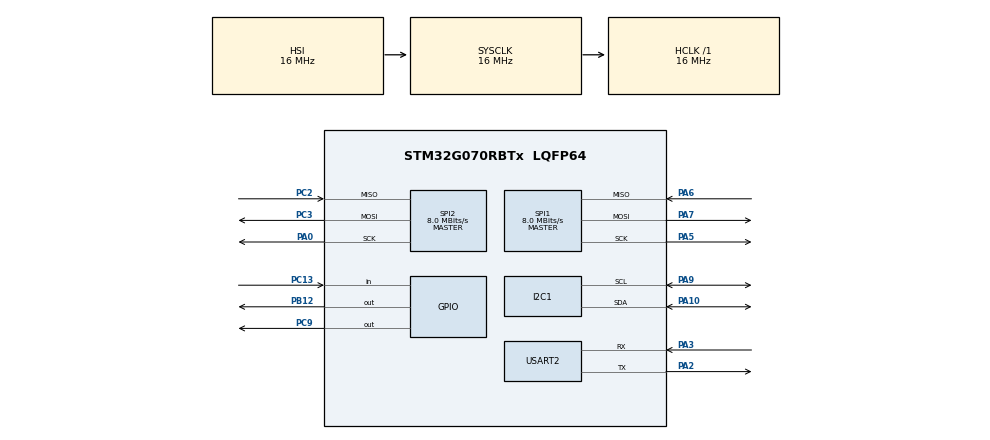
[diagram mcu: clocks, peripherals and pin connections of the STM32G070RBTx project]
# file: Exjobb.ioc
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Mcu.Family=STM32G0
Mcu.Name=STM32G070RBTx
Mcu.Package=LQFP64
PA0.Mode=Full_Duplex_Master
PA0.Signal=SPI2_SCK
PA10.Mode=I2C
PA10.Signal=I2C1_SDA
PA2.Mode=Asynchronous
PA2.Signal=USART2_TX
PA3.Mode=Asynchronous
PA3.Signal=USART2_RX
PA5.Mode=Full_Duplex_Master
PA5.Signal=SPI1_SCK
PA6.Mode=Full_Duplex_Master
PA6.Signal=SPI1_MISO
PA7.Mode=Full_Duplex_Master
PA7.Signal=SPI1_MOSI
PA9.Mode=I2C
PA9.Signal=I2C1_SCL
PB12.Signal=GPIO_Output
PC13.Signal=GPIO_Input
PC2.Mode=Full_Duplex_Master
PC2.Signal=SPI2_MISO
PC3.Mode=Full_Duplex_Master
PC3.Signal=SPI2_MOSI
PC9.Signal=GPIO_Output
ProjectManager.HeapSize=0x200
ProjectManager.StackSize=0x400
ProjectManager.TargetToolchain=STM32CubeIDE
RCC.AHBFreq_Value=16000000
RCC.CortexFreq_Value=16000000
RCC.EXTERNAL_CLOCK_VALUE=48000
RCC.HCLKFreq_Value=16000000
RCC.HSE_VALUE=8000000
RCC.HSI_VALUE=16000000
RCC.LSE_VALUE=32768
RCC.SYSCLKFreq_VALUE=16000000
RCC.VCOOutputFreq_Value=128000000
SPI1.CalculateBaudRate=8.0 MBits/s
SPI1.DataSize=SPI_DATASIZE_8BIT
SPI1.Direction=SPI_DIRECTION_2LINES
SPI1.Mode=SPI_MODE_MASTER
SPI1.VirtualType=VM_MASTER
SPI2.CalculateBaudRate=8.0 MBits/s
SPI2.DataSize=SPI_DATASIZE_8BIT
SPI2.Direction=SPI_DIRECTION_2LINES
SPI2.Mode=SPI_MODE_MASTER
SPI2.VirtualType=VM_MASTER
TIM16.Prescaler=16
USART2.VirtualMode-Asynchronous=VM_ASYNC
VP_RTC_VS_RTC_Activate.Mode=RTC_Enabled
VP_SYS_VS_DBSignals.Mode=DisableDeadBatterySignals
VP_TIM16_VS_ClockSourceINT.Mode=Enable_Timer
board=custom

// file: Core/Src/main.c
/* USER CODE BEGIN Header */
/**
******************************************************************************
* @file : main.c
* @brief : Main program body
******************************************************************************
* @attention
*
* Copyright (c) 2022 STMicroelectronics.
* All rights reserved.
*
* This software is licensed under terms that can be found in the LICENSE file
* in the root directory of this software component.
* If no LICENSE file comes with this software, it is provided AS-IS.
*
******************************************************************************
*/
/* USER CODE END Header */
#include "main.h"

/* USER CODE BEGIN Includes */
#include "main.h"
#include "calc.h"
#include <string.h>
#include <stdio.h>
#include <time.h>
#include <math.h>
#include "ICM20948_SPI.h"
#include "interpolation.h"

/* USER CODE END Includes */

/* USER CODE BEGIN PD */
#define TAMPERING_BUFFER_SIZE (20)

#define IMU_MOVABLE  (0)
#define IMU_FIXED   (1)

//#define TAMPERING_BUFFER 0

/* USER CODE END PD */

I2C_HandleTypeDef hi2c1;

RTC_HandleTypeDef hrtc;

SPI_HandleTypeDef hspi1;
SPI_HandleTypeDef hspi2;

TIM_HandleTypeDef htim16;

UART_HandleTypeDef huart2;

void SystemClock_Config(void);
static void MX_GPIO_Init(void);
static void MX_SPI1_Init(void);
static void MX_USART2_UART_Init(void);
static void MX_RTC_Init(void);
static void MX_TIM16_Init(void);
static void MX_I2C1_Init(void);
static void MX_SPI2_Init(void);

int main(void)
{

  /* MCU Configuration--------------------------------------------------------*/

  /* Reset of all peripherals, Initializes the Flash interface and the Systick. */
  HAL_Init();

  /* Configure the system clock */
  SystemClock_Config();

  /* Initialize all configured peripherals */
	MX_GPIO_Init();
	MX_SPI1_Init();
	MX_USART2_UART_Init();
	MX_RTC_Init();
	MX_TIM16_Init();
	MX_I2C1_Init();
	MX_SPI2_Init();
  /* USER CODE BEGIN 2 */

	ICM_Initialize(&hspi1, &huart2, IMU_MOVABLE);
	ICM_Initialize(&hspi2, &huart2, IMU_FIXED);

	char uart_buffer[200];

	float accel_data_0[3] = {0,0,0};
	float accel_data_1[3] = {0,0,0};
	float gyro_data_0[3] = {0,0,0};
	float gyro_data_1[3] = {0,0,0};
	float accel_data_earthframe_0[3] = {0,0,0};
	float accel_data_earthframe_1[3] = {0,0,0};
	float gyro_bias_0[3] = {0,0,0};
	float gyro_bias_1[3] = {0,0,0};
	float accel_bias_0[2] = {0,0};
	float accel_bias_1[2] = {0,0};

	#ifdef TAMPERING_BUFFER
		float tampering_buffer_0[6][TAMPERING_BUFFER_SIZE];
		float tampering_buffer_1[6][TAMPERING_BUFFER_SIZE];
	#endif

	// High pass Filter Variables
	float low_pass_gyro_0[3] = {0,0,0};
	float low_pass_gyro_1[3] = {0,0,0};
	float prev_low_pass_gyro_0[3] = {0,0,0};
	float prev_low_pass_gyro_1[3] = {0,0,0};
	float low_alpha_gyro = 0.2;

	float low_pass_accel_0[3] = {0,0,0};
	float low_pass_accel_1[3] = {0,0,0};
	float prev_low_pass_accel_0[3] = {0,0,0};
	float prev_low_pass_accel_1[3] = {0,0,0};
	float low_alpha_acc = 0.2;

	struct quaternion quat_0 = {1,0,0,0};
	struct quaternion quat_1 = {1,0,0,0};
	#ifdef TAMPERING_BUFFER
		struct quaternion quat_buffer_0 = {1,0,0,0};
		struct quaternion quat_buffer_1 = {1,0,0,0};
	#endif
	struct euler_angles angles_0 = {0,0,0};
	struct euler_angles angles_1 = {0,0,0};
	#ifdef TAMPERING_BUFFER
		struct euler_angles angles_buffer_0 = {0,0,0};
		struct euler_angles angles_buffer_1 = {0,0,0};
	#endif
	struct euler_angles prev_0 = {0,0,0};
	struct euler_angles prev_1 = {0,0,0};
	struct matrix rotation_matrix_earth_0 = {0,0,0,0,0,0,0,0,0};
	struct matrix rotation_matrix_earth_1 = {0,0,0,0,0,0,0,0,0};

	float duration_diff = 0;
	float duration = 0;
	float clock = 16000000/16.0;
	float motion_duration = 0;

	float diff_pan_0;
	float diff_pan_1;
	float diff_tilt_0;
	float diff_tilt_1;
	float diff_pitch_0;
	float diff_pitch_1;
	float diff_pan_0_1;
	float diff_tilt_0_1;
	float diff_pitch_0_1;

	int8_t is_moving[3] = {0,0,0};
	int8_t was_moving = 0;
	int8_t moving_expected = 0;
	uint8_t uart_prescaler = 0;

	HAL_TIM_Base_Start(&htim16);
	ICM_AccCalibration(&hspi1,&huart2,accel_bias_0, IMU_MOVABLE);
	ICM_AccCalibration(&hspi2,&huart2,accel_bias_1, IMU_FIXED);
	CalculateRotationMatrix(accel_bias_0, &rotation_matrix_earth_0);
	CalculateRotationMatrix(accel_bias_1, &rotation_matrix_earth_1);
	ICM_GyroCalibration(&hspi1,&huart2, gyro_bias_0, IMU_MOVABLE);
	ICM_GyroCalibration(&hspi2,&huart2, gyro_bias_1, IMU_FIXED);

	sprintf(uart_buffer, "UART_PREAMBLE\r\n");
	HAL_UART_Transmit(&huart2,(uint8_t*)uart_buffer, strlen(uart_buffer), 1000);

  /* USER CODE END 2 */

  /* Infinite loop */
  /* USER CODE BEGIN WHILE */

  while (1)
  {
	__HAL_TIM_SET_COUNTER(&htim16,0);
	uart_prescaler = (uart_prescaler + 1) % 50;

	// IMU 0 READ DATA
	ICM_ReadGyroData(&hspi1, gyro_data_0, gyro_bias_0, IMU_MOVABLE);
	ICM_ReadAccData(&hspi1, accel_data_0, IMU_MOVABLE);

	// IMU 1 READ DATA
	ICM_ReadGyroData(&hspi2, gyro_data_1, gyro_bias_1, IMU_FIXED);
	ICM_ReadAccData(&hspi2, accel_data_1, IMU_FIXED);

	// Low-pass Filter Gyroscope & Acceleration IMU 0
	GyroLowPassFilter1(gyro_data_0, prev_low_pass_gyro_0, low_pass_gyro_0, low_alpha_gyro);
	GyroLowPassFilter1(accel_data_0, prev_low_pass_accel_0, low_pass_accel_0, low_alpha_acc);

	// Low-pass Filter Gyroscope & Acceleration IMU 0
	GyroLowPassFilter2(gyro_data_1, prev_low_pass_gyro_1, low_pass_gyro_1, low_alpha_gyro);
	GyroLowPassFilter2(accel_data_1, prev_low_pass_accel_1, low_pass_accel_1, low_alpha_acc);

	// Rotate Accelerometer from Earth frame into reference frame
	CalculateAccelerometerInEarthFrame(&rotation_matrix_earth_0, low_pass_accel_0, accel_data_earthframe_0);
	CalculateAccelerometerInEarthFrame(&rotation_matrix_earth_1, low_pass_accel_1, accel_data_earthframe_1);

	#ifdef TAMPERING_BUFFER
		// Record TAMPERING_BUFFER_SIZE of previous measurements
		for (uint8_t j = 0; j < 6; j++)
		{
			for (uint8_t i =  0; i < (TAMPERING_BUFFER_SIZE - 1); i++)
			{
				tampering_buffer_0[j][i+1] = tampering_buffer_0[j][i];
				tampering_buffer_1[j][i+1] = tampering_buffer_1[j][i];
			}
		}

		tampering_buffer_0[0][0] = accel_data_earthframe_0[0];
		tampering_buffer_0[1][0] = accel_data_earthframe_0[1];
		tampering_buffer_0[2][0] = accel_data_earthframe_0[2];
		tampering_buffer_0[3][0] = low_pass_gyro_0[0];
		tampering_buffer_0[4][0] = low_pass_gyro_0[1];
		tampering_buffer_0[5][0] = low_pass_gyro_0[2];

		tampering_buffer_1[0][0] = accel_data_earthframe_1[0];
		tampering_buffer_1[1][0] = accel_data_earthframe_1[1];
		tampering_buffer_1[2][0] = accel_data_earthframe_1[2];
		tampering_buffer_1[3][0] = low_pass_gyro_1[0];
		tampering_buffer_1[4][0] = low_pass_gyro_1[1];
		tampering_buffer_1[5][0] = low_pass_gyro_1[2];
	#endif

	// Detect angular movements
		// Detect angular movements
	if (low_pass_gyro_0[0] > TAMPERING_UPPER_THRESHOLD || low_pass_gyro_0[0] < -TAMPERING_UPPER_THRESHOLD)
	{
		is_moving[0] = 1;
	}

	if (low_pass_gyro_0[1] > TAMPERING_UPPER_THRESHOLD || low_pass_gyro_0[1] < -TAMPERING_UPPER_THRESHOLD)
	{
		is_moving[1] = 1;
	}

	if (low_pass_gyro_0[2] > TAMPERING_UPPER_THRESHOLD || low_pass_gyro_0[2] < -TAMPERING_UPPER_THRESHOLD)
	{
		is_moving[2] = 1;
	}

	if (low_pass_gyro_0[0] < TAMPERING_LOWER_THRESHOLD && low_pass_gyro_0[0] > -TAMPERING_LOWER_THRESHOLD)
	{
		is_moving[0] = 0;
	}

	if (low_pass_gyro_0[1] < TAMPERING_LOWER_THRESHOLD && low_pass_gyro_0[1] > -TAMPERING_LOWER_THRESHOLD)
	{
		is_moving[1] = 0;
	}
	if (low_pass_gyro_0[2] < TAMPERING_LOWER_THRESHOLD && low_pass_gyro_0[2] > -TAMPERING_LOWER_THRESHOLD)
	{
		is_moving[2] = 0;
	}

	// Camera went from not moving to moving
	if (is_moving[0] == 1 || is_moving[1] == 1 || is_moving[2] == 1)
	{
		MadgwickFilterXIO(low_pass_gyro_0, accel_data_earthframe_0, &quat_0);
		MadgwickFilterXIO(low_pass_gyro_1, accel_data_earthframe_1, &quat_1);
		was_moving = 1;

		motion_duration += SAMPLE_TIME_ICM;

		if (motion_duration > 10*1000)
		{
			// Convert Quaternion Space to Euler Angles Regular
			CalcQuaternionToEuler(quat_0, &angles_0);
			CalcQuaternionToEuler(quat_1, &angles_1);

			diff_pan_0 = prev_0.yaw  - angles_0.yaw;
			diff_pan_1 = prev_1.yaw  - angles_1.yaw;

			diff_tilt_0 = prev_0.roll - angles_0.roll;
			diff_tilt_1 = prev_1.roll - angles_1.roll;

			diff_pitch_0 = (prev_0.pitch - angles_0.pitch);
			diff_pitch_1 = (prev_1.pitch - angles_1.pitch);

			diff_pan_0_1 = diff_pan_0 - diff_pan_1;
			diff_tilt_0_1 = diff_tilt_0 - diff_tilt_1;
			diff_pitch_0_1 = diff_pitch_0 - diff_pitch_1;

			if (diff_pan_0_1 > 180.0)
			{
				diff_pan_0_1 = 360.0 - diff_pan_0_1;
			}

			if (diff_pan_0_1 < -180.0)
			{
				diff_pan_0_1 = -(diff_pan_0_1 + 360.0);
			}

			if (diff_tilt_0_1 > 180.0)
			{
				diff_tilt_0_1 = 360.0 - diff_tilt_0_1;
			}

			if (diff_tilt_0_1 < -180.0)
			{
				diff_tilt_0_1 = -(diff_tilt_0_1 + 360.0);
			}

			if (diff_pitch_0_1 > 180.0)
			{
				diff_pitch_0_1 = 360.0 - diff_pitch_0_1;
			}

			if (diff_pitch_0_1 < -180.0)
			{
				diff_pitch_0_1 = -(diff_pitch_0_1 + 360.0);
			}

			if ((fabs(diff_pan_0_1) > 3.0) | (fabs(diff_tilt_0_1) > 5.0) | (fabs(diff_pitch_0_1) > 5.0))
			{
				// Movement Expected - measured == expected?
				if (moving_expected)
				{
					sprintf(uart_buffer, "Movement Expected! measured: %.2f : %.2f : %.2f \r\n", diff_pan_0_1, diff_tilt_0_1, diff_pitch_0_1);
					HAL_UART_Transmit(&huart2,(uint8_t*) uart_buffer, strlen(uart_buffer), 1000);
				} else {
					// Movement NOT Expected - Tampering detected
					sprintf(uart_buffer, "Movement not Expected! tampering: %.2f : %.2f : %.2f \r\n", diff_pan_0_1, diff_tilt_0_1, diff_pitch_0_1);
					HAL_UART_Transmit(&huart2,(uint8_t*) uart_buffer, strlen(uart_buffer), 1000);
				}
			}

			// Update previous quaternion state
			prev_0.roll = angles_0.roll;
			prev_0.yaw = angles_0.yaw;
			prev_0.pitch = angles_0.pitch;
			prev_1.roll = angles_1.roll;
			prev_1.yaw = angles_1.yaw;
			prev_1.pitch = angles_1.pitch;
			motion_duration = 0;
		} else if (uart_prescaler == 0)
		{
			sprintf(uart_buffer, "MOVEMENT DURATION: %.3f \r\n", motion_duration);
			HAL_UART_Transmit(&huart2,(uint8_t*) uart_buffer, strlen(uart_buffer), 1000);
		}
	} else {
		if (was_moving)
		{

			#ifdef TAMPERING_BUFFER
				// Integrate recording window samples before threshold IMU 0
				for (int8_t i = TAMPERING_BUFFER_SIZE-1; i >= 0; i--)
				{

					accel_data_0[0] = tampering_buffer_0[0][i];
					accel_data_0[1] = tampering_buffer_0[1][i];
					accel_data_0[2] = tampering_buffer_0[2][i];
					gyro_data_0[0] = tampering_buffer_0[3][i];
					gyro_data_0[1] = tampering_buffer_0[4][i];
					gyro_data_0[2] = tampering_buffer_0[5][i];
					MadgwickFilterXIO(gyro_data_0, accel_data_0, &quat_buffer_0);

				}

				// Integrate recording window samples before threshold IMU 0
				for (int8_t i = TAMPERING_BUFFER_SIZE-1; i >= 0; i--)
				{
					accel_data_1[0] = tampering_buffer_1[0][i];
					accel_data_1[1] = tampering_buffer_1[1][i];
					accel_data_1[2] = tampering_buffer_1[2][i];
					gyro_data_1[0] = tampering_buffer_1[3][i];
					gyro_data_1[1] = tampering_buffer_1[4][i];
					gyro_data_1[2] = tampering_buffer_1[5][i];
					MadgwickFilterXIO(gyro_data_1, accel_data_1, &quat_buffer_1);
				}

				// Convert Quaternion Space to Euler Angles Buffer
				CalcQuaternionToEuler(quat_buffer_0, &angles_buffer_0);
				CalcQuaternionToEuler(quat_buffer_1, &angles_buffer_1);
			#endif

			// Convert Quaternion Space to Euler Angles Regular
			CalcQuaternionToEuler(quat_0, &angles_0);
			CalcQuaternionToEuler(quat_1, &angles_1);

			#ifdef TAMPERING_BUFFER
				diff_pan_0 = (prev_0.yaw - angles_buffer_0.yaw) + (prev_0.yaw - angles_0.yaw);
				diff_pan_1 = (prev_1.yaw - angles_buffer_1.yaw) + (prev_1.yaw - angles_1.yaw);

				diff_tilt_0 = (prev_0.roll - angles_buffer_0.roll) + (prev_0.roll - angles_0.roll);
				diff_tilt_1 = (prev_1.roll - angles_buffer_1.roll) + (prev_1.roll - angles_1.roll);
				float temp1 = prev_0.yaw - angles_buffer_0.yaw;
				float temp2 = prev_0.yaw - angles_0.yaw;
				float temp3 = prev_1.yaw - angles_buffer_1.yaw;
				float temp4 = prev_1.yaw - angles_1.yaw;

				float temp5 = prev_0.roll - angles_buffer_0.roll;
				float temp6 = prev_0.roll - angles_0.roll;
				float temp7 = prev_1.roll - angles_buffer_1.roll;
				float temp8 = prev_1.roll - angles_1.roll;

				sprintf(uart_buffer, "diff_yaw_0 buffer: %.3f  other: %.3f \r\n", temp1, temp2);
				HAL_UART_Transmit(&huart2,(uint8_t*) uart_buffer, strlen(uart_buffer), 1000);

				sprintf(uart_buffer, "diff_yaw_1 buffer: %.3f  other: %.3f \r\n", temp3 ,temp4);
				HAL_UART_Transmit(&huart2,(uint8_t*) uart_buffer, strlen(uart_buffer), 1000);

				sprintf(uart_buffer, "diff_roll_0 buffer: %.3f  other: %.3f \r\n", temp5, temp6);
				HAL_UART_Transmit(&huart2,(uint8_t*) uart_buffer, strlen(uart_buffer), 1000);

				sprintf(uart_buffer, "diff_roll_1 buffer: %.3f  other: %.3f \r\n", temp7 ,temp8);
				HAL_UART_Transmit(&huart2,(uint8_t*) uart_buffer, strlen(uart_buffer), 1000);
			#else

				diff_pan_0 = prev_0.yaw  - angles_0.yaw;
				diff_pan_1 = prev_1.yaw  - angles_1.yaw;

				diff_tilt_0 = prev_0.roll - angles_0.roll;
				diff_tilt_1 = prev_1.roll - angles_1.roll;

				diff_pitch_0 = (prev_0.pitch - angles_0.pitch);
				diff_pitch_1 = (prev_1.pitch - angles_1.pitch);
			#endif

			diff_pan_0_1 = diff_pan_0 - diff_pan_1;
			diff_tilt_0_1 = diff_tilt_0 - diff_tilt_1;
			diff_pitch_0_1 = diff_pitch_0 - diff_pitch_1;

			if (diff_pan_0_1 > 180.0)
			{
				diff_pan_0_1 = 360.0 - diff_pan_0_1;
			}

			if (diff_pan_0_1 < -180.0)
			{
				diff_pan_0_1 = -(diff_pan_0_1 + 360.0);
			}

			if (diff_tilt_0_1 > 180.0)
			{
				diff_tilt_0_1 = 360.0 - diff_tilt_0_1;
			}

			if (diff_tilt_0_1 < -180.0)
			{
				diff_tilt_0_1 = -(diff_tilt_0_1 + 360.0);
			}

			if (diff_pitch_0_1 > 180.0)
			{
				diff_pitch_0_1 = 360.0 - diff_pitch_0_1;
			}

			if (diff_pitch_0_1 < -180.0)
			{
				diff_pitch_0_1 = -(diff_pitch_0_1 + 360.0);
			}

			if ((fabs(diff_pan_0_1) > 3.0) | (fabs(diff_tilt_0_1) > 5.0) | (fabs(diff_pitch_0_1) > 5.0))
			{
				// Movement Expected - measured == expected?
				if (moving_expected)
				{
					sprintf(uart_buffer, "Movement Expected! measured: %.2f : %.2f : %.2f \r\n", diff_pan_0_1, diff_tilt_0_1, diff_pitch_0_1);
					HAL_UART_Transmit(&huart2,(uint8_t*) uart_buffer, strlen(uart_buffer), 1000);
				} else {
					// Movement NOT Expected - Tampering detected
					sprintf(uart_buffer, "Movement not Expected! tampering: %.2f : %.2f : %.2f \r\n", diff_pan_0_1, diff_tilt_0_1, diff_pitch_0_1);
					HAL_UART_Transmit(&huart2,(uint8_t*) uart_buffer, strlen(uart_buffer), 1000);
				}
			}

			// Update previous quaternion state
			prev_0.roll = angles_0.roll;
			prev_0.yaw = angles_0.yaw;
			prev_0.pitch = angles_0.pitch;
			prev_1.roll = angles_1.roll;
			prev_1.yaw = angles_1.yaw;
			prev_1.pitch = angles_1.pitch;
			motion_duration = 0;
			// Update buffer to point at latest "non-moving" quaternion state
			#ifdef TAMPERING_BUFFER
				quat_buffer_0 = quat_0;
				quat_buffer_1 = quat_1;
			#endif
		}
		else if (uart_prescaler == 0)
		{
			sprintf(uart_buffer, "NO TAMPERING DETECTED -> MOVE EXPECTED: %i -> LOOP DURATION: %.3f \r\n", moving_expected, duration);
			HAL_UART_Transmit(&huart2,(uint8_t*) uart_buffer, strlen(uart_buffer), 1000);
		}
		was_moving = 0;
	}

	// Calculate loop execution duration and wait if not finished
	duration = (__HAL_TIM_GET_COUNTER(&htim16))*1000.0/clock;
	duration_diff = SAMPLE_TIME_ICM - duration;

	if(duration_diff > 0)
	{
	  HAL_Delay(duration_diff);
	}

    /* USER CODE END WHILE */

  }
}

void SystemClock_Config(void)
{
  RCC_OscInitTypeDef RCC_OscInitStruct = {0};
  RCC_ClkInitTypeDef RCC_ClkInitStruct = {0};

  /** Configure the main internal regulator output voltage
  */
  HAL_PWREx_ControlVoltageScaling(PWR_REGULATOR_VOLTAGE_SCALE1);
  /** Initializes the RCC Oscillators according to the specified parameters
  * in the RCC_OscInitTypeDef structure.
  */
  RCC_OscInitStruct.OscillatorType = RCC_OSCILLATORTYPE_HSI|RCC_OSCILLATORTYPE_LSI;
  RCC_OscInitStruct.HSIState = RCC_HSI_ON;
  RCC_OscInitStruct.HSIDiv = RCC_HSI_DIV1;
  RCC_OscInitStruct.HSICalibrationValue = RCC_HSICALIBRATION_DEFAULT;
  RCC_OscInitStruct.LSIState = RCC_LSI_ON;
  RCC_OscInitStruct.PLL.PLLState = RCC_PLL_NONE;
  if (HAL_RCC_OscConfig(&RCC_OscInitStruct) != HAL_OK)
  {
    Error_Handler();
  }
  /** Initializes the CPU, AHB and APB buses clocks
  */
  RCC_ClkInitStruct.ClockType = RCC_CLOCKTYPE_HCLK|RCC_CLOCKTYPE_SYSCLK
                              |RCC_CLOCKTYPE_PCLK1;
  RCC_ClkInitStruct.SYSCLKSource = RCC_SYSCLKSOURCE_HSI;
  RCC_ClkInitStruct.AHBCLKDivider = RCC_SYSCLK_DIV1;
  RCC_ClkInitStruct.APB1CLKDivider = RCC_HCLK_DIV1;

  if (HAL_RCC_ClockConfig(&RCC_ClkInitStruct, FLASH_LATENCY_0) != HAL_OK)
  {
    Error_Handler();
  }
}

static void MX_I2C1_Init(void)
{

  hi2c1.Instance = I2C1;
  hi2c1.Init.Timing = 0x00303D5B;
  hi2c1.Init.OwnAddress1 = 0;
  hi2c1.Init.AddressingMode = I2C_ADDRESSINGMODE_7BIT;
  hi2c1.Init.DualAddressMode = I2C_DUALADDRESS_DISABLE;
  hi2c1.Init.OwnAddress2 = 0;
  hi2c1.Init.OwnAddress2Masks = I2C_OA2_NOMASK;
  hi2c1.Init.GeneralCallMode = I2C_GENERALCALL_DISABLE;
  hi2c1.Init.NoStretchMode = I2C_NOSTRETCH_DISABLE;
  if (HAL_I2C_Init(&hi2c1) != HAL_OK)
  {
    Error_Handler();
  }
  /** Configure Analogue filter
  */
  if (HAL_I2CEx_ConfigAnalogFilter(&hi2c1, I2C_ANALOGFILTER_ENABLE) != HAL_OK)
  {
    Error_Handler();
  }
  /** Configure Digital filter
  */
  if (HAL_I2CEx_ConfigDigitalFilter(&hi2c1, 0) != HAL_OK)
  {
    Error_Handler();
  }

}

static void MX_RTC_Init(void)
{

  /** Initialize RTC Only
  */
  hrtc.Instance = RTC;
  hrtc.Init.HourFormat = RTC_HOURFORMAT_24;
  hrtc.Init.AsynchPrediv = 127;
  hrtc.Init.SynchPrediv = 255;
  hrtc.Init.OutPut = RTC_OUTPUT_DISABLE;
  hrtc.Init.OutPutRemap = RTC_OUTPUT_REMAP_NONE;
  hrtc.Init.OutPutPolarity = RTC_OUTPUT_POLARITY_HIGH;
  hrtc.Init.OutPutType = RTC_OUTPUT_TYPE_OPENDRAIN;
  hrtc.Init.OutPutPullUp = RTC_OUTPUT_PULLUP_NONE;
  if (HAL_RTC_Init(&hrtc) != HAL_OK)
  {
    Error_Handler();
  }

}

static void MX_SPI1_Init(void)
{

  /* SPI1 parameter configuration*/
  hspi1.Instance = SPI1;
  hspi1.Init.Mode = SPI_MODE_MASTER;
  hspi1.Init.Direction = SPI_DIRECTION_2LINES;
  hspi1.Init.DataSize = SPI_DATASIZE_8BIT;
  hspi1.Init.CLKPolarity = SPI_POLARITY_LOW;
  hspi1.Init.CLKPhase = SPI_PHASE_1EDGE;
  hspi1.Init.NSS = SPI_NSS_SOFT;
  hspi1.Init.BaudRatePrescaler = SPI_BAUDRATEPRESCALER_2;
  hspi1.Init.FirstBit = SPI_FIRSTBIT_MSB;
  hspi1.Init.TIMode = SPI_TIMODE_DISABLE;
  hspi1.Init.CRCCalculation = SPI_CRCCALCULATION_DISABLE;
  hspi1.Init.CRCPolynomial = 7;
  hspi1.Init.CRCLength = SPI_CRC_LENGTH_DATASIZE;
  hspi1.Init.NSSPMode = SPI_NSS_PULSE_ENABLE;
  if (HAL_SPI_Init(&hspi1) != HAL_OK)
  {
    Error_Handler();
  }

}

static void MX_SPI2_Init(void)
{

  /* SPI2 parameter configuration*/
  hspi2.Instance = SPI2;
  hspi2.Init.Mode = SPI_MODE_MASTER;
  hspi2.Init.Direction = SPI_DIRECTION_2LINES;
  hspi2.Init.DataSize = SPI_DATASIZE_8BIT;
  hspi2.Init.CLKPolarity = SPI_POLARITY_LOW;
  hspi2.Init.CLKPhase = SPI_PHASE_1EDGE;
  hspi2.Init.NSS = SPI_NSS_SOFT;
  hspi2.Init.BaudRatePrescaler = SPI_BAUDRATEPRESCALER_2;
  hspi2.Init.FirstBit = SPI_FIRSTBIT_MSB;
  hspi2.Init.TIMode = SPI_TIMODE_DISABLE;
  hspi2.Init.CRCCalculation = SPI_CRCCALCULATION_DISABLE;
  hspi2.Init.CRCPolynomial = 7;
  hspi2.Init.CRCLength = SPI_CRC_LENGTH_DATASIZE;
  hspi2.Init.NSSPMode = SPI_NSS_PULSE_ENABLE;
  if (HAL_SPI_Init(&hspi2) != HAL_OK)
  {
    Error_Handler();
  }

}

static void MX_TIM16_Init(void)
{

  htim16.Instance = TIM16;
  htim16.Init.Prescaler = 16;
  htim16.Init.CounterMode = TIM_COUNTERMODE_UP;
  htim16.Init.Period = 65535;
  htim16.Init.ClockDivision = TIM_CLOCKDIVISION_DIV1;
  htim16.Init.RepetitionCounter = 0;
  htim16.Init.AutoReloadPreload = TIM_AUTORELOAD_PRELOAD_DISABLE;
  if (HAL_TIM_Base_Init(&htim16) != HAL_OK)
  {
    Error_Handler();
  }

}

static void MX_USART2_UART_Init(void)
{

  huart2.Instance = USART2;
  huart2.Init.BaudRate = 115200;
  huart2.Init.WordLength = UART_WORDLENGTH_8B;
  huart2.Init.StopBits = UART_STOPBITS_1;
  huart2.Init.Parity = UART_PARITY_NONE;
  huart2.Init.Mode = UART_MODE_TX_RX;
  huart2.Init.HwFlowCtl = UART_HWCONTROL_NONE;
  huart2.Init.OverSampling = UART_OVERSAMPLING_16;
  huart2.Init.OneBitSampling = UART_ONE_BIT_SAMPLE_DISABLE;
  huart2.Init.ClockPrescaler = UART_PRESCALER_DIV1;
  huart2.AdvancedInit.AdvFeatureInit = UART_ADVFEATURE_NO_INIT;
  if (HAL_UART_Init(&huart2) != HAL_OK)
  {
    Error_Handler();
  }
  if (HAL_UARTEx_SetTxFifoThreshold(&huart2, UART_TXFIFO_THRESHOLD_1_8) != HAL_OK)
  {
    Error_Handler();
  }
  if (HAL_UARTEx_SetRxFifoThreshold(&huart2, UART_RXFIFO_THRESHOLD_1_8) != HAL_OK)
  {
    Error_Handler();
  }
  if (HAL_UARTEx_DisableFifoMode(&huart2) != HAL_OK)
  {
    Error_Handler();
  }

}

static void MX_GPIO_Init(void)
{
  GPIO_InitTypeDef GPIO_InitStruct = {0};

  /* GPIO Ports Clock Enable */
  __HAL_RCC_GPIOC_CLK_ENABLE();
  __HAL_RCC_GPIOA_CLK_ENABLE();
  __HAL_RCC_GPIOB_CLK_ENABLE();

  /*Configure GPIO pin Output Level */
  HAL_GPIO_WritePin(GPIOB, GPIO_PIN_12, GPIO_PIN_RESET);

  /*Configure GPIO pin Output Level */
  HAL_GPIO_WritePin(GPIOC, GPIO_PIN_9, GPIO_PIN_RESET);

  /*Configure GPIO pin : PC13 */
  GPIO_InitStruct.Pin = GPIO_PIN_13;
  GPIO_InitStruct.Mode = GPIO_MODE_INPUT;
  GPIO_InitStruct.Pull = GPIO_NOPULL;
  HAL_GPIO_Init(GPIOC, &GPIO_InitStruct);

  /*Configure GPIO pin : PB12 */
  GPIO_InitStruct.Pin = GPIO_PIN_12;
  GPIO_InitStruct.Mode = GPIO_MODE_OUTPUT_PP;
  GPIO_InitStruct.Pull = GPIO_NOPULL;
  GPIO_InitStruct.Speed = GPIO_SPEED_FREQ_LOW;
  HAL_GPIO_Init(GPIOB, &GPIO_InitStruct);

  /*Configure GPIO pin : PC9 */
  GPIO_InitStruct.Pin = GPIO_PIN_9;
  GPIO_InitStruct.Mode = GPIO_MODE_OUTPUT_PP;
  GPIO_InitStruct.Pull = GPIO_NOPULL;
  GPIO_InitStruct.Speed = GPIO_SPEED_FREQ_LOW;
  HAL_GPIO_Init(GPIOC, &GPIO_InitStruct);

}

void Error_Handler(void)
{
__disable_irq();
while (1)
{
}
}
